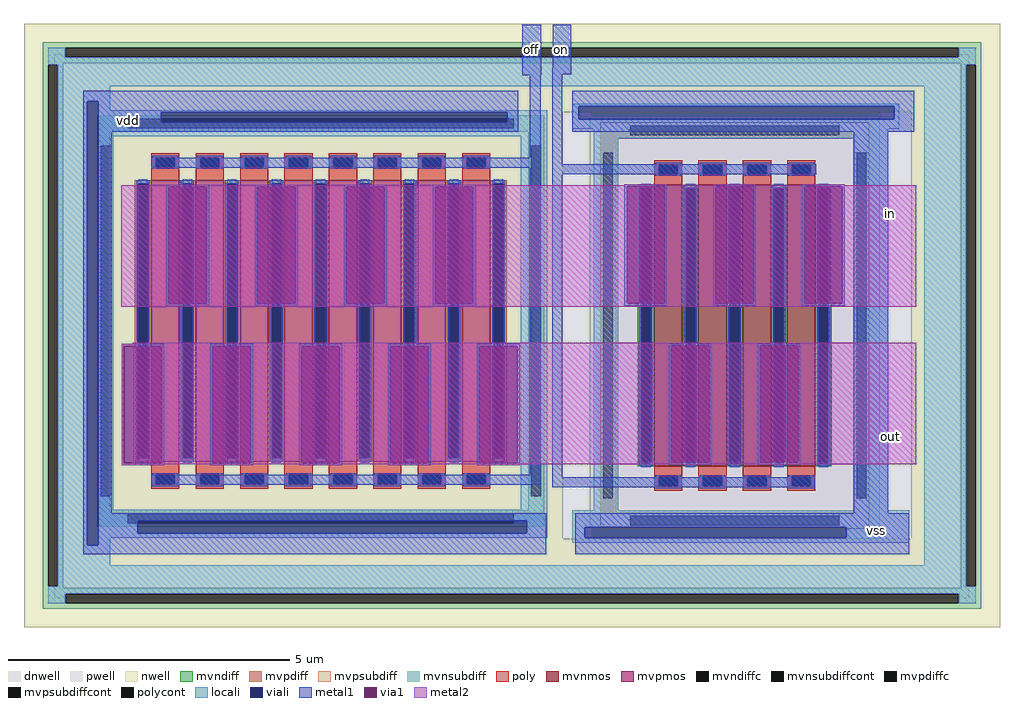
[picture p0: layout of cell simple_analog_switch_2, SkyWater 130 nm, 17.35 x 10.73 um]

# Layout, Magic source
magic
tech sky130A
magscale 1 2
<< dnwell >>
rect 1318 127 4571 2061
<< nwell >>
rect 1210 1855 4680 2170
rect 1210 462 1405 1855
rect 1210 339 1416 462
rect 4365 339 4680 1855
rect 1210 24 4680 339
<< mvnsubdiff >>
rect 1276 2084 4614 2104
rect 1276 2050 1356 2084
rect 4534 2050 4614 2084
rect 1276 2030 4614 2050
rect 1276 2024 1350 2030
rect 1276 170 1296 2024
rect 1330 170 1350 2024
rect 1276 164 1350 170
rect 4540 2024 4614 2030
rect 4540 170 4560 2024
rect 4594 170 4614 2024
rect 4540 164 4614 170
rect 1276 144 4614 164
rect 1276 110 1356 144
rect 4534 110 4614 144
rect 1276 90 4614 110
<< mvnsubdiffcont >>
rect 1356 2050 4534 2084
rect 1296 170 1330 2024
rect 4560 170 4594 2024
rect 1356 110 4534 144
<< locali >>
rect 1296 2050 1356 2084
rect 4534 2050 4594 2084
rect 1296 2024 4594 2050
rect 1330 1948 4560 2024
rect 1330 1894 1517 1948
rect 1330 316 1434 1894
rect 1474 1863 1517 1894
rect 3160 1876 4322 1886
rect 1474 1855 3070 1863
rect 1474 1820 1698 1855
rect 2929 1820 3070 1855
rect 1474 1769 3070 1820
rect 3160 1830 3182 1876
rect 4304 1830 4322 1876
rect 3160 1796 4322 1830
rect 1474 442 1517 1769
rect 2976 442 3070 1769
rect 1474 402 3070 442
rect 3236 1763 4282 1796
rect 3236 441 3322 1763
rect 4160 441 4282 1763
rect 1474 358 1614 402
rect 2998 358 3070 402
rect 1474 342 3070 358
rect 3160 379 4357 441
rect 3160 342 3203 379
rect 4134 342 4357 379
rect 1474 316 1517 342
rect 3160 324 4357 342
rect 1330 244 1517 316
rect 4410 244 4560 1948
rect 1330 170 4560 244
rect 1296 144 4594 170
rect 1296 110 1356 144
rect 4534 110 4594 144
<< viali >>
rect 1434 316 1474 1894
rect 1698 1820 2929 1855
rect 3182 1830 4304 1876
rect 1614 358 2998 402
rect 3203 342 4134 379
<< metal1 >>
rect 2981 1986 3049 2167
rect 3089 2014 3156 2166
rect 3088 1990 3156 2014
rect 1420 1894 2968 1932
rect 1420 316 1434 1894
rect 1474 1855 2968 1894
rect 1474 1820 1698 1855
rect 2929 1820 2968 1855
rect 1474 1786 2968 1820
rect 1474 430 1522 1786
rect 3008 1694 3048 1986
rect 1662 1658 3048 1694
rect 3008 566 3048 1658
rect 1662 530 3048 566
rect 3088 1670 3124 1990
rect 3160 1876 4375 1932
rect 3160 1830 3182 1876
rect 4304 1830 4375 1876
rect 3160 1786 4375 1830
rect 3088 1634 4026 1670
rect 3088 558 3124 1634
rect 3088 522 4022 558
rect 4160 430 4282 1786
rect 1474 402 3066 430
rect 1474 358 1614 402
rect 2998 358 3066 402
rect 1474 316 3066 358
rect 1420 284 3066 316
rect 3170 379 4357 430
rect 3170 342 3203 379
rect 4134 342 4357 379
rect 3170 284 4357 342
<< metal2 >>
rect 1556 1164 4382 1596
rect 1597 604 4382 1036
use iso_switch_via_med  iso_switch_via_med_0
transform 1 0 1104 0 -1 -1316
box 612 -2914 764 -2482
use iso_switch_via_med  iso_switch_via_med_1
transform 1 0 945 0 -1 -1882
box 612 -2914 764 -2482
use iso_switch_via_med  iso_switch_via_med_6
transform 1 0 1261 0 -1 -1882
box 612 -2914 764 -2482
use iso_switch_via_med  iso_switch_via_med_7
transform 1 0 1577 0 -1 -1882
box 612 -2914 764 -2482
use iso_switch_via_med  iso_switch_via_med_8
transform 1 0 1893 0 -1 -1882
box 612 -2914 764 -2482
use iso_switch_via_med  iso_switch_via_med_9
transform 1 0 2052 0 -1 -1316
box 612 -2914 764 -2482
use iso_switch_via_med  iso_switch_via_med_10
transform 1 0 1420 0 -1 -1316
box 612 -2914 764 -2482
use iso_switch_via_med  iso_switch_via_med_11
transform 1 0 1736 0 -1 -1316
box 612 -2914 764 -2482
use iso_switch_via_med  iso_switch_via_med_12
transform -1 0 4108 0 -1 -1314
box 612 -2914 764 -2482
use iso_switch_via_med  iso_switch_via_med_13
transform -1 0 4424 0 -1 -1314
box 612 -2914 764 -2482
use iso_switch_via_med  iso_switch_via_med_15
transform 1 0 2209 0 -1 -1882
box 612 -2914 764 -2482
use iso_switch_via_med  iso_switch_via_med_17
transform -1 0 4266 0 -1 -1880
box 612 -2914 764 -2482
use iso_switch_via_med  iso_switch_via_med_18
transform -1 0 4582 0 -1 -1880
box 612 -2914 764 -2482
use iso_switch_via_med  iso_switch_via_med_27
transform -1 0 4740 0 -1 -1314
box 612 -2914 764 -2482
use sky130_fd_pr__pfet_g5v0d10v5_KLJ6Y6  XM4 paramcells
transform 1 0 2265 0 1 1113
box -861 -797 861 797
use sky130_fd_pr__nfet_g5v0d10v5_N9BQ2J  XM15 paramcells
transform -1 0 3737 0 1 1097
box -515 -758 515 758
<< labels >>
flabel metal1 4140 315 4340 422 0 FreeSans 256 180 0 0 vss
port 2 nsew
flabel metal1 2981 1986 3049 2167 0 FreeSans 256 270 0 0 off
port 1 nsew
flabel metal1 3089 1990 3156 2166 0 FreeSans 256 270 0 0 on
port 0 nsew
flabel metal1 1481 1786 1681 1864 0 FreeSans 256 0 0 0 vdd
port 5 nsew
flabel metal2 4206 604 4374 804 0 FreeSans 256 180 0 0 out
port 3 nsew
flabel metal2 4207 1396 4373 1596 0 FreeSans 256 0 0 0 in
port 4 nsew
<< end >>

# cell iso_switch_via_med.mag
magic
tech sky130A
<< metal1 >>
rect 306 -1245 382 -1241
rect 306 -1453 310 -1245
rect 377 -1453 382 -1245
rect 306 -1457 382 -1453
<< via1 >>
rect 310 -1453 377 -1245
<< metal2 >>
rect 306 -1245 382 -1241
rect 306 -1453 310 -1245
rect 377 -1453 382 -1245
rect 306 -1457 382 -1453
<< end >>

# cell sky130_fd_pr__pfet_g5v0d10v5_KLJ6Y6: kit device sky130_fd_pr__pfet_g5v0d10v5, w 5.0 l 0.5 m 1 nf 8 diffcov 100 polycov 100 guard 1 glc 1 grc 1 gtc 1 gbc 1 tbcov 100 rlcov 100 topc 1 botc 1 poverlap 0 doverlap 1 lmin 0.50 wmin 0.42 compatible {sky130_fd_pr__pfet_01v8 sky130_fd_pr__pfet_01v8_lvt sky130_fd_pr__pfet_01v8_hvt sky130_fd_pr__pfet_g5v0d10v5} full_metal 1 viasrc 100 viadrn 100 viagate 100 viagb 0 viagr 0 viagl 0 viagt 0

# cell sky130_fd_pr__nfet_g5v0d10v5_N9BQ2J: kit device sky130_fd_pr__nfet_g5v0d10v5, w 5.0 l 0.5 m 1 nf 4 diffcov 100 polycov 100 guard 1 glc 1 grc 1 gtc 1 gbc 1 tbcov 100 rlcov 100 topc 1 botc 1 poverlap 0 doverlap 1 lmin 0.50 wmin 0.42 compatible {sky130_fd_pr__nfet_01v8 sky130_fd_pr__nfet_01v8_lvt sky130_fd_bs_flash__special_sonosfet_star sky130_fd_pr__nfet_g5v0d10v5 sky130_fd_pr__nfet_05v0_nvt sky130_fd_pr__nfet_03v3_nvt} full_metal 1 viasrc 100 viadrn 100 viagate 100 viagb 0 viagr 0 viagl 0 viagt 0
